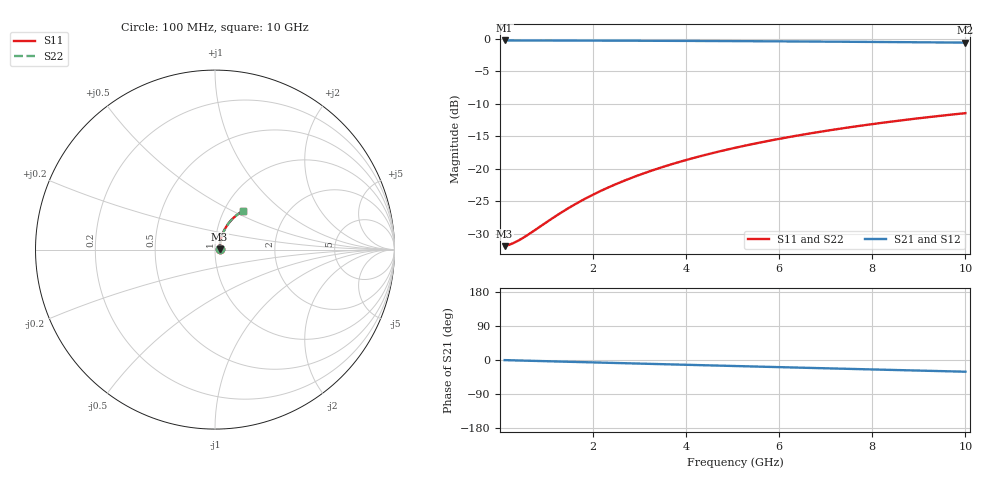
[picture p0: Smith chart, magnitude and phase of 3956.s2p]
# Hz S RI R 50.00
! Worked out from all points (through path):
!   100 points, 100 MHz to 10 GHz, reference 50 ohm
!   highest |S21| = -0.22 dB at 100 MHz (marker M1); lowest = -0.6 dB at 10 GHz (marker M2)
!   group delay of S21, straight-line fit = 8.59 ps
!   lowest |S11| = -31.9 dB at 100 MHz (marker M3), VSWR 1.05, Z = 52.6 + j0.289 ohm
!   |S11| at or under -10 dB: start of sweep to end of sweep
!   |S22| runs from -31.9 to -11.4 dB; largest |S21 - S12| = 0
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1e8  0.0251 0.00274  0.9749 -0.00539  0.9749 -0.00539  0.0251 0.00274
2e8  0.0253 0.00548  0.9747 -0.0108  0.9747 -0.0108  0.0253 0.00548
3e8  0.0255 0.00822  0.9744 -0.0162  0.9744 -0.0162  0.0255 0.00822
4e8  0.0257 0.011  0.9742 -0.0216  0.9742 -0.0216  0.0257 0.011
5e8  0.0259 0.0137  0.974 -0.0269  0.974 -0.0269  0.0259 0.0137
1.3e9  0.0286 0.0354  0.9708 -0.0699  0.9708 -0.0699  0.0286 0.0354
1.5e9  0.0295 0.0408  0.9697 -0.0806  0.9697 -0.0806  0.0295 0.0408
1.8e9  0.0311 0.0488  0.9677 -0.0965  0.9677 -0.0965  0.0311 0.0488
2.1e9  0.0329 0.0568  0.9654 -0.1125  0.9654 -0.1125  0.0329 0.0568
2.5e9  0.0358 0.0673  0.9619 -0.1336  0.9619 -0.1336  0.0358 0.0673
2.9e9  0.0391 0.0777  0.9578 -0.1545  0.9578 -0.1545  0.0391 0.0777
3.4e9  0.0439 0.0904  0.9519 -0.1805  0.9519 -0.1805  0.0439 0.0904
3.8e9  0.0482 0.1003  0.9466 -0.201  0.9466 -0.201  0.0482 0.1003
4.2e9  0.0529 0.11  0.9407 -0.2213  0.9407 -0.2213  0.0529 0.11
4.6e9  0.058 0.1195  0.9343 -0.2414  0.9343 -0.2414  0.058 0.1195
5.1e9  0.0649 0.1309  0.9257 -0.2661  0.9257 -0.2661  0.0649 0.1309
5.9e9  0.0773 0.1484  0.9102 -0.3048  0.9102 -0.3048  0.0773 0.1484
6.7e9  0.0909 0.1645  0.8928 -0.3422  0.8928 -0.3422  0.0909 0.1645
7.5e9  0.1058 0.1794  0.8738 -0.3783  0.8738 -0.3783  0.1058 0.1794
8.4e9  0.1239 0.1943  0.8505 -0.4172  0.8505 -0.4172  0.1239 0.1943
9.2e9  0.1409 0.206  0.8283 -0.4501  0.8283 -0.4501  0.1409 0.206
1e10  0.1586 0.2162  0.8049 -0.4815  0.8049 -0.4815  0.1586 0.2162
